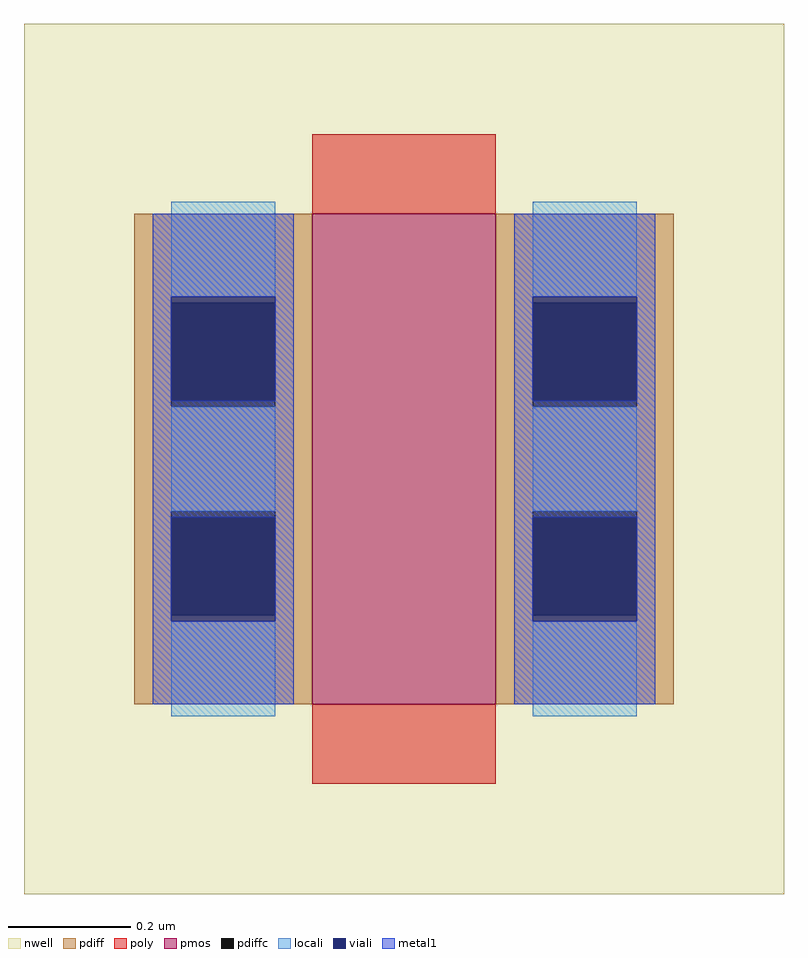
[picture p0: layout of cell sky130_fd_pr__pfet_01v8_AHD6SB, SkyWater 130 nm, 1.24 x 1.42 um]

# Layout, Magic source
magic
tech sky130A
magscale 1 2
<< nwell >>
rect -124 -142 124 142
<< pmos >>
rect -30 -80 30 80
<< pdiff >>
rect -88 51 -30 80
rect -88 17 -76 51
rect -42 17 -30 51
rect -88 -17 -30 17
rect -88 -51 -76 -17
rect -42 -51 -30 -17
rect -88 -80 -30 -51
rect 30 51 88 80
rect 30 17 42 51
rect 76 17 88 51
rect 30 -17 88 17
rect 30 -51 42 -17
rect 76 -51 88 -17
rect 30 -80 88 -51
<< pdiffc >>
rect -76 17 -42 51
rect -76 -51 -42 -17
rect 42 17 76 51
rect 42 -51 76 -17
<< poly >>
rect -30 80 30 106
rect -30 -106 30 -80
<< locali >>
rect -76 53 -42 84
rect -76 -17 -42 17
rect -76 -84 -42 -53
rect 42 53 76 84
rect 42 -17 76 17
rect 42 -84 76 -53
<< viali >>
rect -76 51 -42 53
rect -76 19 -42 51
rect -76 -51 -42 -19
rect -76 -53 -42 -51
rect 42 51 76 53
rect 42 19 76 51
rect 42 -51 76 -19
rect 42 -53 76 -51
<< metal1 >>
rect -82 53 -36 80
rect -82 19 -76 53
rect -42 19 -36 53
rect -82 -19 -36 19
rect -82 -53 -76 -19
rect -42 -53 -36 -19
rect -82 -80 -36 -53
rect 36 53 82 80
rect 36 19 42 53
rect 76 19 82 53
rect 36 -19 82 19
rect 36 -53 42 -19
rect 76 -53 82 -19
rect 36 -80 82 -53
<< end >>
